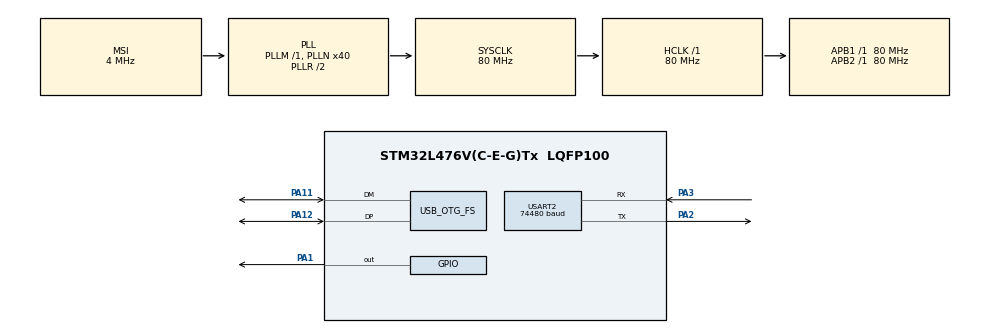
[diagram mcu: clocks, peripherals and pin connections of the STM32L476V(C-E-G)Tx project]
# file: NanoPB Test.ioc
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Dma.Request0=USART2_TX
Dma.USART2_TX.0.Direction=DMA_MEMORY_TO_PERIPH
Dma.USART2_TX.0.Instance=DMA1_Channel7
Dma.USART2_TX.0.MemDataAlignment=DMA_MDATAALIGN_BYTE
Dma.USART2_TX.0.MemInc=DMA_MINC_ENABLE
Dma.USART2_TX.0.Mode=DMA_NORMAL
Dma.USART2_TX.0.PeriphDataAlignment=DMA_PDATAALIGN_BYTE
Dma.USART2_TX.0.PeriphInc=DMA_PINC_DISABLE
Dma.USART2_TX.0.Priority=DMA_PRIORITY_LOW
Mcu.Family=STM32L4
Mcu.Name=STM32L476V(C-E-G)Tx
Mcu.Package=LQFP100
NVIC.DMA1_Channel7_IRQn=true\:0\:0\:false\:false\:true\:false\:true
NVIC.OTG_FS_IRQn=true\:0\:0\:false\:false\:true\:false\:true
NVIC.PriorityGroup=NVIC_PRIORITYGROUP_4
NVIC.TIM3_IRQn=true\:0\:0\:false\:false\:true\:true\:true
NVIC.USART2_IRQn=true\:0\:0\:false\:false\:true\:true\:true
PA1.Signal=GPIO_Output
PA11.Mode=Device_Only
PA11.Signal=USB_OTG_FS_DM
PA12.Mode=Device_Only
PA12.Signal=USB_OTG_FS_DP
PA2.Mode=Asynchronous
PA2.Signal=USART2_TX
PA3.Mode=Asynchronous
PA3.Signal=USART2_RX
ProjectManager.HeapSize=0x200
ProjectManager.StackSize=0x400
ProjectManager.TargetToolchain=STM32CubeIDE
RCC.ADCFreq_Value=48000000
RCC.AHBFreq_Value=80000000
RCC.APB1Freq_Value=80000000
RCC.APB1TimFreq_Value=80000000
RCC.APB2Freq_Value=80000000
RCC.APB2TimFreq_Value=80000000
RCC.CortexFreq_Value=80000000
RCC.HCLKFreq_Value=80000000
RCC.HSE_VALUE=8000000
RCC.HSI_VALUE=16000000
RCC.LSE_VALUE=32768
RCC.MSI_VALUE=4000000
RCC.PLLN=40
RCC.PLLSAI1N=24
RCC.PREFETCH_ENABLE=1
RCC.SYSCLKFreq_VALUE=80000000
RCC.SYSCLKSource=RCC_SYSCLKSOURCE_PLLCLK
RCC.USBFreq_Value=48000000
RCC.VCOOutputFreq_Value=160000000
USART2.BaudRate=74480
USART2.VirtualMode-Asynchronous=VM_ASYNC
USB_DEVICE.CLASS_NAME_FS=CDC
USB_DEVICE.VirtualMode=Cdc
USB_DEVICE.VirtualModeFS=Cdc_FS
USB_OTG_FS.VirtualMode=Device_Only
VP_TIM3_VS_ClockSourceINT.Mode=Internal
VP_USB_DEVICE_VS_USB_DEVICE_CDC_FS.Mode=CDC_FS
board=STM32L476G-DISCO

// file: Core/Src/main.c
/* USER CODE BEGIN Header */
/**
 ******************************************************************************
 * @file           : main.c
 * @brief          : Main program body
 ******************************************************************************
 * @attention
 *
 * <h2><center>&copy; Copyright (c) 2020 STMicroelectronics.
 * All rights reserved.</center></h2>
 *
 * This software component is licensed by ST under BSD 3-Clause license,
 * the "License"; You may not use this file except in compliance with the
 * License. You may obtain a copy of the License at:
 *                        opensource.org/licenses/BSD-3-Clause
 *
 ******************************************************************************
 */
/* USER CODE END Header */

#include "main.h"
#include "usb_device.h"

/* USER CODE BEGIN Includes */

#include "encoders.h"
#include "decoders.h"
#include "types.h"
#include "esp8266.h"
#include "task_list.h"

/* USER CODE END Includes */

/* USER CODE BEGIN PD */

// writing the bytes after they've been encoded
bool write(uint8_t * buf, uint8_t count) {
	HAL_StatusTypeDef result;
	while ((result = HAL_UART_Transmit(&huart2, buf, count, 200)) != HAL_OK);
	HAL_Delay(5);
	return true;
}

// reading the bytes to decode later
bool read(uint8_t * buf, size_t count) {
	HAL_StatusTypeDef result;
	result = HAL_UART_Receive(&huart2, buf, count, 2000);
	return result;
}

/* USER CODE END PD */

TIM_HandleTypeDef htim3;
UART_HandleTypeDef huart2;
DMA_HandleTypeDef hdma_usart2_tx;

void SystemClock_Config(void);
static void MX_GPIO_Init(void);
static void MX_DMA_Init(void);
static void MX_TIM3_Init(void);
static void MX_USART2_UART_Init(void);

/* USER CODE BEGIN 0 */

bool krpc_connect(char *clientName) {
	krpc_schema_ConnectionRequest mymessage;
	mymessage.client_name.arg = (uint8_t*) clientName;
	mymessage.client_name.funcs.encode = &encode_string;
	mymessage.type = krpc_schema_ConnectionRequest_Type_RPC;
	mymessage.client_identifier.funcs.encode = 0;
	uint8_t buffer[30];
	pb_ostream_t stream = pb_ostream_from_buffer(buffer, sizeof(buffer));
	pb_encode_delimited(&stream, krpc_schema_ConnectionRequest_fields,
			&mymessage);

	write(buffer, stream.bytes_written);
	//HAL_Delay(50);

	// Receive response message
	krpc_schema_ConnectionResponse connRe;
	char responseMsg[40];
	connRe.message.funcs.decode = &decode_string;
	connRe.message.arg = responseMsg;
	connRe.client_identifier.funcs.decode = 0;

	// make the stream for sizing
	size_t size = 0;
	if (read(responseMsg, 1) != HAL_OK) {
					while (1)
						;
		}
	pb_istream_t uartIn = pb_istream_from_buffer(responseMsg, 1);
	pb_decode_varint(&uartIn, &size);
	if (read(responseMsg, size) != HAL_OK) {
		while (1)
			;
	}
	// remake the stream with the real size
	uartIn = pb_istream_from_buffer(responseMsg, size);
	pb_decode(&uartIn, krpc_schema_ConnectionResponse_fields, &connRe);
	return true;

}

bool krpc_build_calls(procserv_context_t *procSerCtx, uint8_t numContexts,
		krpc_schema_ProcedureCall *calls, procarg_context_t *argCtx) {
	int i = 0;
	for (i = 0; i < numContexts; i++) {
		char emptystr[] = "";
		calls[i].procedure.arg = emptystr;
		calls[i].procedure.funcs.encode = &encode_string;
		calls[i].service.arg = emptystr;
		calls[i].service.funcs.encode = &encode_string;
		calls[i].procedure_id = procSerCtx[i].procedure_id;
		calls[i].service_id = procSerCtx[i].service_id;
		if (procSerCtx[i].hasArgs){
		calls[i].arguments.arg = &argCtx[i];
		calls[i].arguments.funcs.encode = &encode_args;
		}
		else{
			calls[i].arguments.arg = 0;
			calls[i].arguments.funcs.encode = 0;
		}
	}
	return true;
}

bool krpc_invoke(krpc_schema_Request *request, proccall_context_t *calls) {
	request->calls.arg = calls;
	request->calls.funcs.encode = &encode_calls;
	uint8_t buffer[40];
	pb_ostream_t stream = pb_ostream_from_buffer(buffer, sizeof(buffer));
	pb_encode_delimited(&stream, krpc_schema_Request_fields, request);
	write(buffer, stream.bytes_written);
	return true;
}

bool krpc_response(krpc_schema_Response *response,
		procresult_context_t *results) {
	response->results.funcs.decode = &decode_results;
	response->results.arg = results;
	response->error.service.funcs.decode = 0;
	response->error.name.funcs.decode = 0;
	response->error.description.funcs.decode = 0;

	uint8_t buffer[80];
	pb_istream_t uartIn = pb_istream_from_buffer(buffer, 1);
	size_t size = 0;
	if (read(buffer, 1) != HAL_OK) {
				while (1)
					;
	}
	pb_decode_varint(&uartIn, &size);
	if (read(buffer, size) != HAL_OK) {
			while (1)
				;
	}
	// remake the stream with the real size
	uartIn = pb_istream_from_buffer(buffer, size);
	pb_decode(&uartIn, krpc_schema_Response_fields, response);
	return true;
}

bool krpc_get_Status(krpc_schema_Status *status) {
	// send the request
	krpc_schema_Request request;
	krpc_schema_ProcedureCall calls[2];
	proccall_context_t callCtx;
	procarg_context_t argCtx[1];
	procserv_context_t contexts[2] = { { 1, 3, false } };
	callCtx.calls = calls;
	callCtx.numCalls = 1;
	krpc_build_calls(contexts, 1, calls, argCtx);
	krpc_invoke(&request, &callCtx);

	// get the response
	// receive status response
	krpc_schema_Response response;

	// store the fields in the proper context
	procresult_context_t resultCtx;
	resultCtx.numResults = 1;

	krpc_schema_ProcedureResult results[1];
	resultCtx.resultDests = results;

	char version_str[6];
	status->version.funcs.decode = &decode_string;
	status->version.arg = version_str;
	void *valueDests[1] = { status };
	resultCtx.valueDests = valueDests;

	pb_msgdesc_t *valueFields[1] = { krpc_schema_Status_fields };
	resultCtx.resultFields = valueFields;

	krpc_response(&response, &resultCtx);
	return true;
}

bool krpc_get_ClientName(char *client_name) {
	krpc_schema_Request request;
	krpc_schema_ProcedureCall calls[2];
	proccall_context_t callCtx;
	procarg_context_t argCtx[1];
	procserv_context_t contexts[2] = { { 1, 2, false } };
	callCtx.calls = calls;
	callCtx.numCalls = 1;
	krpc_build_calls(contexts, 1, calls, 0);
	krpc_invoke(&request, &callCtx);

	// receive client_name response
	krpc_schema_Response response;

	// store the fields in the proper context
	procresult_context_t resultCtx;
	krpc_schema_ProcedureResult results[1];
	resultCtx.numResults = 1;
	resultCtx.resultDests = results;
	void *valueDests[1] = { &client_name };
	resultCtx.valueDests = valueDests;
	pb_msgdesc_t *valueFields[1] = { STRING };
	resultCtx.resultFields = valueFields;
	krpc_response(&response, &resultCtx);
	return true;
}

/*bool krpc_set_Paused(bool *paused) {
	krpc_schema_Request request;
	krpc_schema_ProcedureCall calls[2];
	proccall_context_t callCtx;
	procarg_context_t argCtx[1];
	procserv_context_t contexts[2] = { { 1, 2, false } };
	callCtx.calls = calls;
	callCtx.numCalls = 1;
	krpc_build_calls(contexts, 1, calls, 0);
	krpc_invoke(&request, &callCtx);

	// receive client_name response
	krpc_schema_Response response;

	// store the fields in the proper context
	procresult_context_t resultCtx;
	krpc_schema_ProcedureResult results[1];
	resultCtx.numResults = 1;
	resultCtx.resultDests = results;
	void *valueDests[1] = { &client_name };
	resultCtx.valueDests = valueDests;
	pb_msgdesc_t *valueFields[1] = { STRING };
	resultCtx.resultFields = valueFields;
	krpc_response(&response, &resultCtx);
	return true;
}*/

bool krpc_get_CurrentGameScene(krpc_schema_Procedure_GameScene *game_scene) {
	krpc_schema_Request request;
	krpc_schema_ProcedureCall calls[2];
	proccall_context_t callCtx;
	procarg_context_t argCtx[1];
	procserv_context_t contexts[2] = { { 1, 11, false } };
	callCtx.calls = calls;
	callCtx.numCalls = 1;
	krpc_build_calls(contexts, 1, calls, argCtx);
	krpc_invoke(&request, &callCtx);

	// receive client_name response
	krpc_schema_Response response;

	// store the fields in the proper context
	procresult_context_t resultCtx;
	krpc_schema_ProcedureResult results[1];
	resultCtx.numResults = 1;
	resultCtx.resultDests = results;
	void *valueDests[1] = { game_scene };
	resultCtx.valueDests = valueDests;
	pb_msgdesc_t *valueFields[1] = { ENUM };
	resultCtx.resultFields = valueFields;
	krpc_response(&response, &resultCtx);
	// for some reason we need to shift it over
	*game_scene = *game_scene >> 1;
	return true;
}

bool krpc_SpaceCenter_ActiveVessel(krpc_SpaceCenter_Vessel_t * vessel){
	krpc_schema_Request request;
	krpc_schema_ProcedureCall calls[1];
	proccall_context_t callCtx;
	procarg_context_t argCtx[1];
	procserv_context_t contexts[1] = { { 2, 22, false } };
	callCtx.calls = calls;
	callCtx.numCalls = 1;
	krpc_build_calls(contexts, 1, calls, argCtx);
	krpc_invoke(&request, &callCtx);

	// receive client_name response
	krpc_schema_Response response;

	// store the fields in the proper context
	procresult_context_t resultCtx;
	krpc_schema_ProcedureResult results[1];
	resultCtx.numResults = 1;
	resultCtx.resultDests = results;
	void *valueDests[1] = { vessel };
	resultCtx.valueDests = valueDests;
	pb_msgdesc_t *valueFields[1] = { OBJECT };
	resultCtx.resultFields = valueFields;
	krpc_response(&response, &resultCtx);
	return true;
}

bool krpc_SpaceCenter_SetVesselName(krpc_SpaceCenter_Vessel_t vessel, char * name){
	krpc_schema_Request request;
	krpc_schema_ProcedureCall calls[1];
	krpc_schema_Argument vesselName;
	krpc_schema_Argument vesselInstance;
	krpc_schema_Argument *args[2];
	proccall_context_t callCtx;
	procarg_context_t argCtx[1];
	procserv_context_t contexts[1] = { { 2, 832, true } };
	callCtx.calls = calls;
	callCtx.numCalls = 1;
	vesselInstance.position = 0;
	vesselInstance.value.funcs.encode = &encode_uint64;
	vesselInstance.value.arg = &vessel;
	vesselName.position = 1;
	vesselName.value.funcs.encode = &encode_string;
	vesselName.value.arg = name;
	args[0] = &vesselInstance;
	args[1] = &vesselName;
	argCtx[0].args = args;
	argCtx[0].numArgs = 2;
	krpc_build_calls(contexts, 1, calls, argCtx);
	krpc_invoke(&request, &callCtx);
	return true;
}
/* USER CODE END 0 */

int main(void) {

	/* MCU Configuration--------------------------------------------------------*/

	/* Reset of all peripherals, Initializes the Flash interface and the Systick. */
	HAL_Init();

	/* Configure the system clock */
	SystemClock_Config();

	/* Initialize all configured peripherals */

	//HAL_Delay(1000);
	MX_GPIO_Init();
	MX_DMA_Init();
	MX_TIM3_Init();
	MX_USART2_UART_Init();
	MX_USB_DEVICE_Init();
	/* USER CODE BEGIN 2 */

	HAL_Delay(1000);

	if (esp8266_init(&huart2)) {
		while (1)
			;
	}
	if (esp8266_connect_WiFi(&huart2, "NETGEAR21", "precioussquirrel044")) {
		while (1)
			;
	}
	if (esp8266_connect_TCP(&huart2, "192.168.0.7", 50000)) {
		while (1)
			;
	}

	// Connect to server
	krpc_connect("hello");

	HAL_Delay(500);

	/*// Send a get_Status request
	 krpc_schema_Request request;
	 krpc_schema_ProcedureCall calls[2];
	 proccall_context_t callCtx;
	 procserv_context_t contexts[2] = { { 1, 3 } };
	 callCtx.calls = calls;
	 callCtx.numCalls = 1;
	 krpc_build_calls(contexts, 1, calls);
	 krpc_invoke(&request, &callCtx);*/

	// Send a get_Status request
	krpc_schema_Status status;
	krpc_get_Status(&status);

	HAL_Delay(100);

	//char client_name[40]; // the clientID bytes will be stored here
	//krpc_get_ClientName(client_name);

	krpc_schema_Procedure_GameScene game_scene;
	krpc_get_CurrentGameScene(&game_scene);

	HAL_Delay(100);

	krpc_SpaceCenter_Vessel_t vessel;
	krpc_SpaceCenter_ActiveVessel(&vessel);

	HAL_Delay(500);

	krpc_SpaceCenter_SetVesselName(vessel, "jebby");

	/* USER CODE END 2 */

	/* Infinite loop */
	/* USER CODE BEGIN WHILE */while (1) {
		/* USER CODE END WHILE */

	}
}

void SystemClock_Config(void) {
	RCC_OscInitTypeDef RCC_OscInitStruct = { 0 };
	RCC_ClkInitTypeDef RCC_ClkInitStruct = { 0 };
	RCC_PeriphCLKInitTypeDef PeriphClkInit = { 0 };

	/** Initializes the CPU, AHB and APB busses clocks
	 */
	RCC_OscInitStruct.OscillatorType = RCC_OSCILLATORTYPE_MSI;
	RCC_OscInitStruct.MSIState = RCC_MSI_ON;
	RCC_OscInitStruct.MSICalibrationValue = 0;
	RCC_OscInitStruct.MSIClockRange = RCC_MSIRANGE_6;
	RCC_OscInitStruct.PLL.PLLState = RCC_PLL_ON;
	RCC_OscInitStruct.PLL.PLLSource = RCC_PLLSOURCE_MSI;
	RCC_OscInitStruct.PLL.PLLM = 1;
	RCC_OscInitStruct.PLL.PLLN = 40;
	RCC_OscInitStruct.PLL.PLLP = RCC_PLLP_DIV7;
	RCC_OscInitStruct.PLL.PLLQ = RCC_PLLQ_DIV2;
	RCC_OscInitStruct.PLL.PLLR = RCC_PLLR_DIV2;
	if (HAL_RCC_OscConfig(&RCC_OscInitStruct) != HAL_OK) {
		Error_Handler();
	}
	/** Initializes the CPU, AHB and APB busses clocks
	 */
	RCC_ClkInitStruct.ClockType = RCC_CLOCKTYPE_HCLK | RCC_CLOCKTYPE_SYSCLK
			| RCC_CLOCKTYPE_PCLK1 | RCC_CLOCKTYPE_PCLK2;
	RCC_ClkInitStruct.SYSCLKSource = RCC_SYSCLKSOURCE_PLLCLK;
	RCC_ClkInitStruct.AHBCLKDivider = RCC_SYSCLK_DIV1;
	RCC_ClkInitStruct.APB1CLKDivider = RCC_HCLK_DIV1;
	RCC_ClkInitStruct.APB2CLKDivider = RCC_HCLK_DIV1;

	if (HAL_RCC_ClockConfig(&RCC_ClkInitStruct, FLASH_LATENCY_4) != HAL_OK) {
		Error_Handler();
	}
	PeriphClkInit.PeriphClockSelection = RCC_PERIPHCLK_USART2
			| RCC_PERIPHCLK_USB;
	PeriphClkInit.Usart2ClockSelection = RCC_USART2CLKSOURCE_PCLK1;
	PeriphClkInit.UsbClockSelection = RCC_USBCLKSOURCE_PLLSAI1;
	PeriphClkInit.PLLSAI1.PLLSAI1Source = RCC_PLLSOURCE_MSI;
	PeriphClkInit.PLLSAI1.PLLSAI1M = 1;
	PeriphClkInit.PLLSAI1.PLLSAI1N = 24;
	PeriphClkInit.PLLSAI1.PLLSAI1P = RCC_PLLP_DIV7;
	PeriphClkInit.PLLSAI1.PLLSAI1Q = RCC_PLLQ_DIV2;
	PeriphClkInit.PLLSAI1.PLLSAI1R = RCC_PLLR_DIV2;
	PeriphClkInit.PLLSAI1.PLLSAI1ClockOut = RCC_PLLSAI1_48M2CLK;
	if (HAL_RCCEx_PeriphCLKConfig(&PeriphClkInit) != HAL_OK) {
		Error_Handler();
	}
	/** Configure the main internal regulator output voltage
	 */
	if (HAL_PWREx_ControlVoltageScaling(PWR_REGULATOR_VOLTAGE_SCALE1)
			!= HAL_OK) {
		Error_Handler();
	}
}

static void MX_TIM3_Init(void) {

	TIM_ClockConfigTypeDef sClockSourceConfig = { 0 };
	TIM_MasterConfigTypeDef sMasterConfig = { 0 };

	htim3.Instance = TIM3;
	htim3.Init.Prescaler = 0;
	htim3.Init.CounterMode = TIM_COUNTERMODE_UP;
	htim3.Init.Period = 0;
	htim3.Init.ClockDivision = TIM_CLOCKDIVISION_DIV1;
	htim3.Init.AutoReloadPreload = TIM_AUTORELOAD_PRELOAD_DISABLE;
	if (HAL_TIM_Base_Init(&htim3) != HAL_OK) {
		Error_Handler();
	}
	sClockSourceConfig.ClockSource = TIM_CLOCKSOURCE_INTERNAL;
	if (HAL_TIM_ConfigClockSource(&htim3, &sClockSourceConfig) != HAL_OK) {
		Error_Handler();
	}
	sMasterConfig.MasterOutputTrigger = TIM_TRGO_RESET;
	sMasterConfig.MasterSlaveMode = TIM_MASTERSLAVEMODE_DISABLE;
	if (HAL_TIMEx_MasterConfigSynchronization(&htim3, &sMasterConfig)
			!= HAL_OK) {
		Error_Handler();
	}

}

static void MX_USART2_UART_Init(void) {

	huart2.Instance = USART2;
	huart2.Init.BaudRate = 74480;
	huart2.Init.WordLength = UART_WORDLENGTH_8B;
	huart2.Init.StopBits = UART_STOPBITS_1;
	huart2.Init.Parity = UART_PARITY_NONE;
	huart2.Init.Mode = UART_MODE_TX_RX;
	huart2.Init.HwFlowCtl = UART_HWCONTROL_NONE;
	huart2.Init.OverSampling = UART_OVERSAMPLING_16;
	huart2.Init.OneBitSampling = UART_ONE_BIT_SAMPLE_DISABLE;
	huart2.AdvancedInit.AdvFeatureInit = UART_ADVFEATURE_NO_INIT;
	if (HAL_UART_Init(&huart2) != HAL_OK) {
		Error_Handler();
	}

}

static void MX_DMA_Init(void) {

	/* DMA controller clock enable */
	__HAL_RCC_DMA1_CLK_ENABLE();

	/* DMA interrupt init */
	/* DMA1_Channel7_IRQn interrupt configuration */
	HAL_NVIC_SetPriority(DMA1_Channel7_IRQn, 0, 0);
	HAL_NVIC_EnableIRQ(DMA1_Channel7_IRQn);

}

static void MX_GPIO_Init(void) {
	GPIO_InitTypeDef GPIO_InitStruct = { 0 };

	/* GPIO Ports Clock Enable */
	__HAL_RCC_GPIOA_CLK_ENABLE();

	/*Configure GPIO pin Output Level */
	HAL_GPIO_WritePin(GPIOA, GPIO_PIN_1, GPIO_PIN_RESET);

	/*Configure GPIO pin : PA1 */
	GPIO_InitStruct.Pin = GPIO_PIN_1;
	GPIO_InitStruct.Mode = GPIO_MODE_OUTPUT_PP;
	GPIO_InitStruct.Pull = GPIO_NOPULL;
	GPIO_InitStruct.Speed = GPIO_SPEED_FREQ_LOW;
	HAL_GPIO_Init(GPIOA, &GPIO_InitStruct);

}

void Error_Handler(void) {
}

/************************ (C) COPYRIGHT STMicroelectronics *****END OF FILE****/
